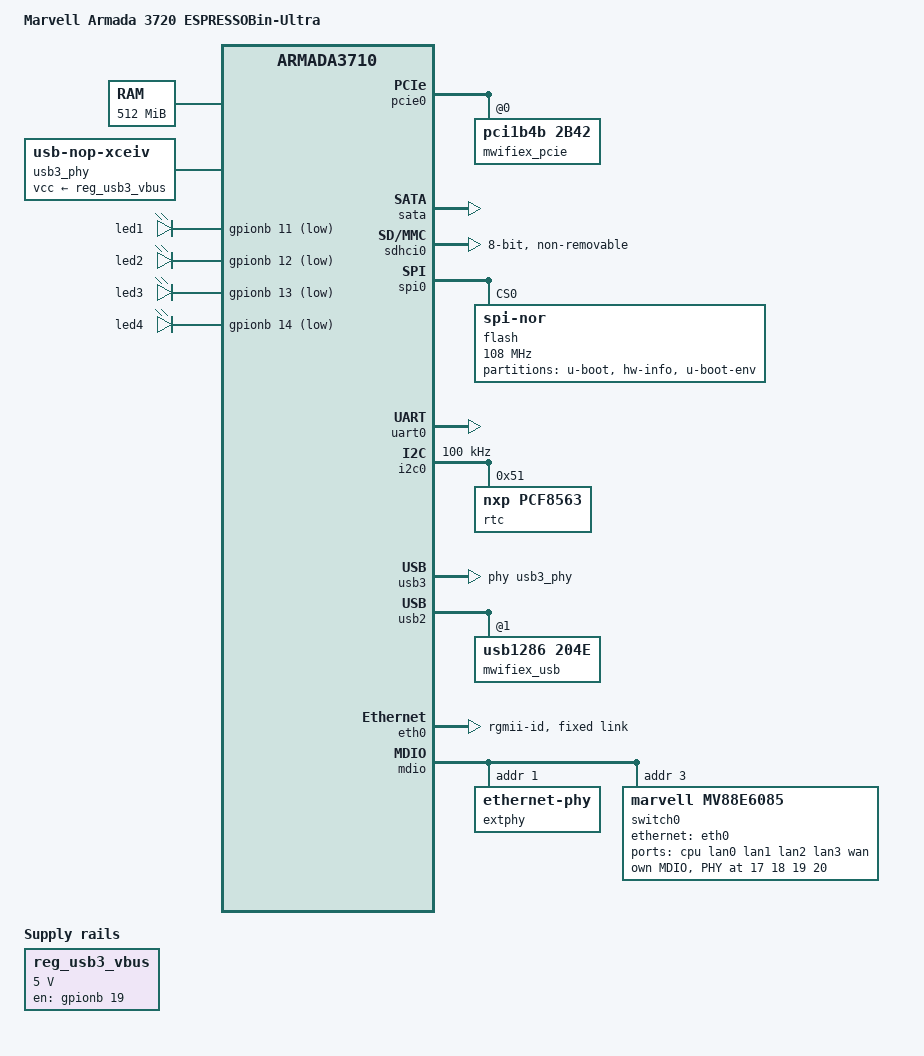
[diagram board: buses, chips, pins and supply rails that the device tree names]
// SPDX-License-Identifier: (GPL-2.0+ OR MIT)
/*
 * Device Tree file for ESPRESSObin-Ultra
 * Copyright (C) 2019 Globalscale technologies, Inc.
 *
 * Jason Hung <jhung@globalscaletechnologies.com>
 */

/dts-v1/;

#include <dt-bindings/gpio/gpio.h>
#include "armada-372x.dtsi"

/ {
	model = "Marvell Armada 3720 ESPRESSOBin-Ultra";
	compatible = "globalscale,espressobin-ultra", "marvell,armada3720",
		     "marvell,armada3710";

	aliases {
		ethernet0 = &eth0;
		/* for dsa slave device */
		ethernet1 = &switch0port1;
		ethernet2 = &switch0port2;
		ethernet3 = &switch0port3;
		ethernet4 = &switch0port4;
		ethernet5 = &switch0port5;
		/* for 88w8997 mwifiex */
		ethernet6 = &mwifiex_pcie;
		ethernet7 = &mwifiex_usb;
	};

	chosen {
		stdout-path = "serial0:115200n8";
	};

	memory {
		device_type = "memory";
		reg = <0x00000000 0x00000000 0x00000000 0x20000000>;
	};

	reg_usb3_vbus: usb3-vbus {
		compatible = "regulator-fixed";
		regulator-name = "usb3-vbus";
		regulator-min-microvolt = <5000000>;
		regulator-max-microvolt = <5000000>;
		enable-active-high;
		gpio = <&gpionb 19 GPIO_ACTIVE_HIGH>;
	};

	usb3_phy: usb3-phy {
		compatible = "usb-nop-xceiv";
		vcc-supply = <&reg_usb3_vbus>;
	};

	gpio-leds {
		compatible = "gpio-leds";

		led1 {
			label = "led1";
			gpios = <&gpionb 11 GPIO_ACTIVE_LOW>;
		};
		led2 {
			label = "led2";
			gpios = <&gpionb 12 GPIO_ACTIVE_LOW>;
		};
		led3 {
			label = "led3";
			gpios = <&gpionb 13 GPIO_ACTIVE_LOW>;
		};
		led4 {
			label = "led4";
			gpios = <&gpionb 14 GPIO_ACTIVE_LOW>;
		};
	};
};

&pcie0 {
	status = "okay";

	mwifiex_pcie: wifi@0 {
		compatible = "pci1b4b,2b42";
		status = "okay";
	};
};

&sata {
	status = "okay";
};

&sdhci0 {
	non-removable;
	bus-width = <8>;
	mmc-ddr-1_8v;
	mmc-hs400-1_8v;
	marvell,pad-type = "fixed-1-8v";
	status = "okay";
};

&spi0 {
	status = "okay";
	pinctrl-names = "default";
	pinctrl-0 = <&spi_quad_pins>;

	flash@0 {
		compatible = "jedec,spi-nor";
		reg = <0>;
		spi-max-frequency = <108000000>;
		spi-rx-bus-width = <4>;
		spi-tx-bus-width = <4>;
		m25p,fast-read;

		partitions {
			compatible = "fixed-partitions";
			#address-cells = <1>;
			#size-cells = <1>;

			partition@0 {
				label = "u-boot";
				reg = <0x0 0x3e0000>;
			};
			partition@3e0000 {
				label = "hw-info";
				reg = <0x3e0000 0x10000>;
				read-only;
			};
			partition@3f0000 {
				label = "u-boot-env";
				reg = <0x3f0000 0x10000>;
			};
		};
	};
};

&uart0 {
	pinctrl-names = "default";
	pinctrl-0 = <&uart1_pins>;
	status = "okay";
};

&i2c0 {
	pinctrl-names = "default";
	pinctrl-0 = <&i2c1_pins>;
	status = "okay";

	clock-frequency = <100000>;

	rtc@51 {
		compatible = "nxp,pcf8563";
		reg = <0x51>;
	};
};

&usb3 {
	usb-phy = <&usb3_phy>;
	status = "okay";
};

&usb2 {
	status = "okay";

	mwifiex_usb: wifi@1 {
		compatible = "usb1286,204e";
		port = <3>;
		status = "okay";
	};
};

&eth0 {
	pinctrl-names = "default";
	pinctrl-0 = <&rgmii_pins>;
	phy-mode = "rgmii-id";
	status = "okay";

	fixed-link {
		speed = <1000>;
		full-duplex;
	};
};

&mdio {
	status = "okay";

	extphy: ethernet-phy@0 {
		reg = <1>;
	};

	switch0: switch0@1 {
		compatible = "marvell,mv88e6085";
		#address-cells = <1>;
		#size-cells = <0>;
		reg = <3>;

		dsa,member = <0 0>;

		ports {
			#address-cells = <1>;
			#size-cells = <0>;

			switch0port0: port@0 {
				reg = <0>;
				label = "cpu";
				ethernet = <&eth0>;
			};

			switch0port1: port@1 {
				reg = <1>;
				label = "lan0";
				phy-handle = <&switch0phy1>;
			};

			switch0port2: port@2 {
				reg = <2>;
				label = "lan1";
				phy-handle = <&switch0phy2>;
			};

			switch0port3: port@3 {
				reg = <3>;
				label = "lan2";
				phy-handle = <&switch0phy3>;
			};

			switch0port4: port@4 {
				reg = <4>;
				label = "lan3";
				phy-handle = <&switch0phy4>;
			};

			switch0port5: port@5 {
				reg = <5>;
				label = "wan";
				phy-handle = <&extphy>;
				phy-mode = "sgmii";
			};
		};

		mdio {
			#address-cells = <1>;
			#size-cells = <0>;

			switch0phy1: switch0phy1@11 {
				reg = <0x11>;
			};
			switch0phy2: switch0phy2@12 {
				reg = <0x12>;
			};
			switch0phy3: switch0phy3@13 {
				reg = <0x13>;
			};
			switch0phy4: switch0phy4@14 {
				reg = <0x14>;
			};
		};
	};
};
